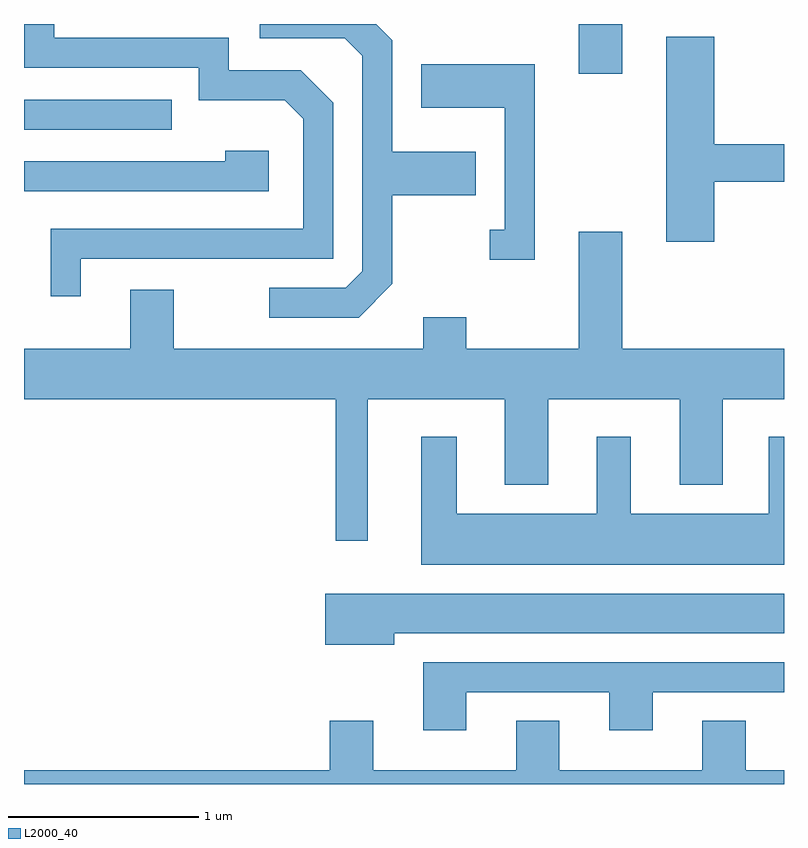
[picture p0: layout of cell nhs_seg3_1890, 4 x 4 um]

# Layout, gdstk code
import gdstk
lib = gdstk.Library(unit=1e-6, precision=1e-09)
def R(c, l, rs):  # rectangles x0, y0, x1, y1
    for r in rs: c.add(gdstk.rectangle(r[:2], r[2:], *l))
def P(c, l, *ps):  # polygons
    for p in ps: c.add(gdstk.Polygon(p, *l))
L2000_40 = (2000, 40)

nhs_seg3_1890 = lib.new_cell('nhs_seg3_1890')
R(nhs_seg3_1890, L2000_40, [(239.611,1227.336,240.388,1227.494), (242.531,1227.631,242.759,1227.892)])
P(nhs_seg3_1890, L2000_40, [(239.909,1226.656),(241.239,1226.656),(241.239,1227.477),(241.067,1227.649),(240.689,1227.649),(240.689,1227.819),(239.769,1227.819),(239.769,1227.892),(239.611,1227.892),(239.611,1227.661),(240.531,1227.661),(240.531,1227.491),(240.984,1227.491),(241.081,1227.394),(241.081,1226.814),(239.751,1226.814),(239.751,1226.458),(239.909,1226.458)],
  [(241.549,1226.524),(241.549,1226.991),(241.989,1226.991),(241.989,1227.219),(241.549,1227.219),(241.549,1227.807),(241.464,1227.892),(240.853,1227.892),(240.853,1227.816),(241.299,1227.816),(241.391,1227.724),(241.391,1226.592),(241.304,1226.504),(240.903,1226.504),(240.903,1226.346),(241.372,1226.346)],
  [(243.244,1227.061),(243.611,1227.061),(243.611,1227.259),(243.244,1227.259),(243.244,1227.824),(242.991,1227.824),(242.991,1226.746),(243.244,1226.746)],
  [(242.299,1227.679),(241.701,1227.679),(241.701,1227.451),(242.141,1227.451),(242.141,1226.809),(242.063,1226.809),(242.063,1226.651),(242.299,1226.651)],
  [(240.899,1227.224),(240.671,1227.224),(240.671,1227.169),(239.611,1227.169),(239.611,1227.011),(240.899,1227.011)],
  [(241.419,1225.916),(242.141,1225.916),(242.141,1225.466),(242.369,1225.466),(242.369,1225.916),(243.061,1225.916),(243.061,1225.466),(243.289,1225.466),(243.289,1225.916),(243.611,1225.916),(243.611,1226.184),(242.759,1226.184),(242.759,1226.799),(242.531,1226.799),(242.531,1226.184),(241.939,1226.184),(241.939,1226.349),(241.711,1226.349),(241.711,1226.184),(240.399,1226.184),(240.399,1226.494),(240.171,1226.494),(240.171,1226.184),(239.611,1226.184),(239.611,1225.916),(241.251,1225.916),(241.251,1225.173),(241.419,1225.173)],
  [(243.611,1225.719),(243.531,1225.719),(243.531,1225.314),(242.804,1225.314),(242.804,1225.719),(242.626,1225.719),(242.626,1225.314),(241.889,1225.314),(241.889,1225.719),(241.701,1225.719),(241.701,1225.046),(243.611,1225.046)],
  [(241.559,1224.686),(243.611,1224.686),(243.611,1224.894),(241.196,1224.894),(241.196,1224.626),(241.559,1224.626)],
  [(241.939,1224.376),(242.691,1224.376),(242.691,1224.176),(242.919,1224.176),(242.919,1224.376),(243.611,1224.376),(243.611,1224.534),(241.711,1224.534),(241.711,1224.176),(241.939,1224.176)],
  [(243.611,1223.964),(243.409,1223.964),(243.409,1224.224),(243.181,1224.224),(243.181,1223.964),(242.429,1223.964),(242.429,1224.224),(242.201,1224.224),(242.201,1223.964),(241.449,1223.964),(241.449,1224.224),(241.221,1224.224),(241.221,1223.964),(239.611,1223.964),(239.611,1223.892),(243.611,1223.892)])

lib.write_gds('nhs_seg3_1890.gds')
